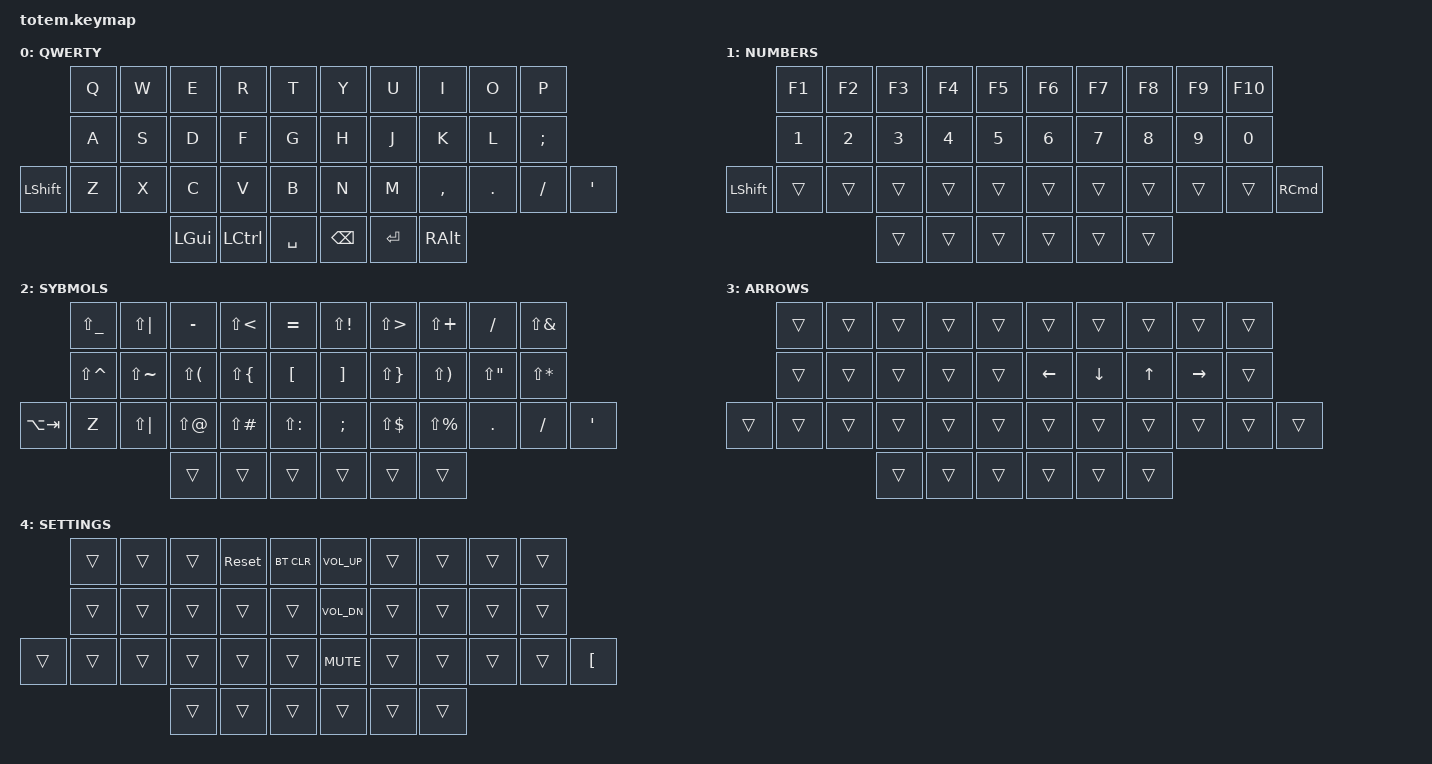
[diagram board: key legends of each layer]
//
//                                                        ▀▀▀▀▀     ▀▀▀▀▀          ▀▀█▀▀
//                                                        ▄▀▀▀▄  ▄  ▄▀▀▀▄  ▄  ▄▀▀▀▄  █  ▄▀▀▀▄
//                                                        █   █  █  █   █  █  █   █  █  █   █
//                                                         ▀▀▀   █   ▀▀▀   █   ▀▀▀   ▀   ▀▀▀
//                                                               █      ▄▄▄█▄▄▄    █   █  
//                                                               ▀      █  █  █     █▄█
//                                                             ▀▀▀▀▀    █  █  █      ▀
//                                                                      ▀  ▀  ▀
//
// ▄▄▄▄▄▄▄▄▄▄▄▄▄▄▄▄▄▄▄▄▄▄▄▄▄▄▄▄▄▄▄▄▄▄▄▄▄▄▄▄▄▄▄▄▄▄▄▄▄▄▄▄▄▄▄▄▄▄▄▄▄▄▄▄▄▄▄▄▄▄▄▄▄▄▄▄▄▄▄▄▄▄▄▄▄▄▄▄▄▄▄▄▄▄▄▄▄▄▄▄▄▄▄▄▄▄▄▄▄▄▄▄▄▄▄▄▄▄▄▄▄▄▄▄▄▄▄▄▄▄▄▄▄▄▄▄▄▄▄▄▄▄▄▄▄▄▄▄▄

#include <behaviors.dtsi>
#include <dt-bindings/zmk/bt.h>
#include <dt-bindings/zmk/keys.h>

#define BASE 0
#define NAV  1
#define SYM  2
#define ADJ  3
#define TVP1 4
#define TVP2 5

&mt {
    quick-tap-ms = <100>;
    global-quick-tap;
    flavor = "tap-preferred";
    tapping-term-ms = <170>;
};

/ {
    combos {
        compatible = "zmk,combos";

        combo_esc {
            timeout-ms = <50>;
            key-positions = <0 1>;
            bindings = <&kp ESC>;
        };

        left_bracket {
            bindings = <&kp LEFT_BRACKET>;
            key-positions = <9 8>;
        };

        right_bracket {
            bindings = <&kp RIGHT_BRACKET>;
            key-positions = <19 18>;
        };

        FIRST_LAYER {
            bindings = <&mo 1>;
            key-positions = <37 34>;
        };

        SECOND_LAYER {
            bindings = <&mo 2>;
            key-positions = <37 33>;
        };

        THIRD_LAYER {
            bindings = <&mo 3>;
            key-positions = <37 32>;
        };

        FOURT_LAYER {
            bindings = <&mo 4>;
            key-positions = <33 36>;
        };

        tab {
            bindings = <&kp TAB>;
            key-positions = <10 11>;
        };

        tilda {
            bindings = <&kp GRAVE>;
            key-positions = <1 2>;
        };
    };

    keymap {
        compatible = "zmk,keymap";

        // ▄▄▄▄▄▄▄▄▄▄▄▄▄▄▄▄▄▄▄▄▄▄▄▄▄▄▄▄▄▄▄▄▄▄▄▄▄▄▄▄▄▄▄▄▄▄▄▄▄▄▄▄▄▄▄▄▄▄▄▄▄▄▄▄▄▄▄▄▄▄▄▄▄▄▄▄▄▄▄▄▄▄▄▄▄▄▄▄▄▄▄▄▄▄▄▄▄▄▄▄▄▄▄▄▄▄▄▄▄▄▄▄▄▄▄▄▄▄▄▄▄▄▄▄▄▄▄▄▄▄▄▄▄▄▄▄▄▄▄▄▄▄▄▄▄▄▄▄▄
        // ▄▄▄▄▄▄▄▄▄▄▄▄▄▄▄▄▄▄▄▄▄▄▄▄▄▄▄▄▄▄▄▄▄▄▄▄▄▄▄▄▄▄▄▄▄▄▄▄▄▄▄▄▄▄▄▄▄▄▄▄▄▄▄▄▄▄▄▄▄▄▄▄▄▄▄▄▄▄▄▄▄▄▄▄▄▄▄▄▄▄▄▄▄▄▄▄▄▄▄▄▄▄▄▄▄▄▄▄▄▄▄▄▄▄▄▄▄▄▄▄▄▄▄▄▄▄▄▄▄▄▄▄▄▄▄▄▄▄▄▄▄▄▄▄▄▄▄▄▄
        // ▄▄▄▄▄▄▄▄▄▄▄▄▄▄▄▄▄▄▄▄▄▄▄▄▄▄▄▄▄▄▄▄▄▄▄▄▄▄▄▄▄▄▄▄▄▄▄▄▄▄▄▄▄▄▄▄▄▄▄▄▄▄▄▄▄▄▄▄▄▄▄▄▄▄▄▄▄▄▄▄▄▄▄▄▄▄▄▄▄▄▄▄▄▄▄▄▄▄▄▄▄▄▄▄▄▄▄▄▄▄▄▄▄▄▄▄▄▄▄▄▄▄▄▄▄▄▄▄▄▄▄▄▄▄▄▄▄▄▄▄▄▄▄▄▄▄▄▄▄
        // ▄▄▄▄▄▄▄▄▄▄▄▄▄▄▄▄▄▄▄▄▄▄▄▄▄▄▄▄▄▄▄▄▄▄▄▄▄▄▄▄▄▄▄▄▄▄▄▄▄▄▄▄▄▄▄▄▄▄▄▄▄▄▄▄▄▄▄▄▄▄▄▄▄▄▄▄▄▄▄▄▄▄▄▄▄▄▄▄▄▄▄▄▄▄▄▄▄▄▄▄▄▄▄▄▄▄▄▄▄▄▄▄▄▄▄▄▄▄▄▄▄▄▄▄▄▄▄▄▄▄▄▄▄▄▄▄▄▄▄▄▄▄▄▄▄▄▄▄▄
        // ▄▄▄▄▄▄▄▄▄▄▄▄▄▄▄▄▄▄▄▄▄▄▄▄▄▄▄▄▄▄▄▄▄▄▄▄▄▄▄▄▄▄▄▄▄▄▄▄▄▄▄▄▄▄▄▄▄▄▄▄▄▄▄▄▄▄▄▄▄▄▄▄▄▄▄▄▄▄▄▄▄▄▄▄▄▄▄▄▄▄▄▄▄▄▄▄▄▄▄▄▄▄▄▄▄▄▄▄▄▄▄▄▄▄▄▄▄▄▄▄▄▄▄▄▄▄▄▄▄▄▄▄▄▄▄▄▄▄▄▄▄▄▄▄▄▄▄▄▄
        // ▄▄▄▄▄▄▄▄▄▄▄▄▄▄▄▄▄▄▄▄▄▄▄▄▄▄▄▄▄▄▄▄▄▄▄▄▄▄▄▄▄▄▄▄▄▄▄▄▄▄▄▄▄▄▄▄▄▄▄▄▄▄▄▄▄▄▄▄▄▄▄▄▄▄▄▄▄▄▄▄▄▄▄▄▄▄▄▄▄▄▄▄▄▄▄▄▄▄▄▄▄▄▄▄▄▄▄▄▄▄▄▄▄▄▄▄▄▄▄▄▄▄▄▄▄▄▄▄▄▄▄▄▄▄▄▄▄▄▄▄▄▄▄▄▄▄▄▄▄

        QWERTY {
            bindings = <
                &kp Q  &kp W  &kp E     &kp R             &kp T        &kp Y     &kp U    &kp I          &kp O    &kp P
                &kp A  &kp S  &kp D     &kp F             &kp G        &kp H     &kp J    &kp K          &kp L    &kp SEMI
&kp LEFT_SHIFT  &kp Z  &kp X  &kp C     &kp V             &kp B        &kp N     &kp M    &kp COMMA      &kp DOT  &kp FSLH  &kp SQT
                              &kp LGUI  &kp LEFT_CONTROL  &kp SPACE    &kp BSPC  &kp RET  &kp RIGHT_ALT
            >;
        };

        NUMBERS {
            bindings = <
           &kp F1        &kp F2  &kp F3  &kp F4  &kp F5    &kp F6  &kp F7  &kp F8  &kp F9  &kp F10
           &kp NUMBER_1  &kp N2  &kp N3  &kp N4  &kp N5    &kp N6  &kp N7  &kp N8  &kp N9  &kp NUMBER_0
&kp LSHFT  &trans        &trans  &trans  &trans  &trans    &trans  &trans  &trans  &trans  &trans        &kp RIGHT_COMMAND
                                 &trans  &trans  &trans    &trans  &trans  &trans
            >;
        };

        SYBMOLS {
            bindings = <
             &kp LS(UNDER)  &kp LS(PIPE)   &kp MINUS     &kp LS(LT)     &kp EQUAL        &kp LS(EXCL)  &kp LS(GT)    &kp LS(PLUS)   &kp FSLH     &kp LS(AMPS)
             &kp LS(CARET)  &kp LS(TILDE)  &kp LS(LPAR)  &kp LS(LBRC)   &kp LBKT         &kp RBKT      &kp LS(RBRC)  &kp LS(RPAR)   &kp LS(DQT)  &kp LS(STAR)
&kp LA(TAB)  &kp Z          &kp LS(PIPE)   &kp LS(AT)    &kp LS(POUND)  &kp LS(COLON)    &kp SEMI      &kp LS(DLLR)  &kp LS(PRCNT)  &kp DOT      &kp FSLH      &kp SQT
                                           &trans        &trans         &trans           &trans        &trans        &trans
            >;
        };

        ARROWS {
            bindings = <
        &trans  &trans  &trans  &trans  &trans    &trans          &trans          &trans        &trans           &trans
        &trans  &trans  &trans  &trans  &trans    &kp LEFT_ARROW  &kp DOWN_ARROW  &kp UP_ARROW  &kp RIGHT_ARROW  &trans
&trans  &trans  &trans  &trans  &trans  &trans    &trans          &trans          &trans        &trans           &trans  &trans
                        &trans  &trans  &trans    &trans          &trans          &trans
            >;
        };

        SETTINGS {
            bindings = <
        &trans  &trans  &trans  &sys_reset  &bt BT_CLR    &kp C_VOL_UP  &trans  &trans  &trans  &trans
        &trans  &trans  &trans  &trans      &trans        &kp C_VOL_DN  &trans  &trans  &trans  &trans
&trans  &trans  &trans  &trans  &trans      &trans        &kp C_MUTE    &trans  &trans  &trans  &trans  &kp LEFT_BRACKET
                        &trans  &trans      &trans        &trans        &trans  &trans
            >;
        };
    };

    conditional_layers { compatible = "zmk,conditional-layers"; };
};
